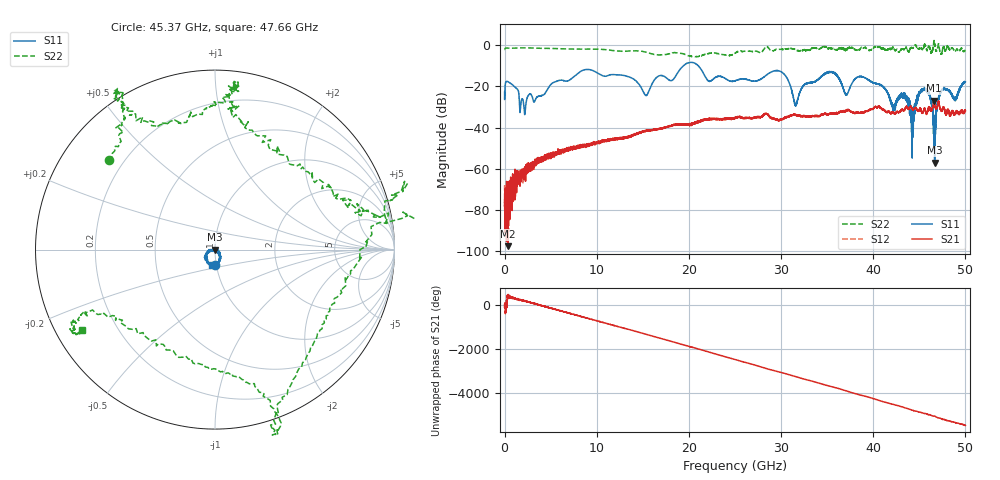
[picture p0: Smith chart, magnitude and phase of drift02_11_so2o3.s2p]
!Created with skrf (http://scikit-rf.org).
# Hz S RI R 50.0
!freq ReS11 ImS11 ReS21 ImS21 ReS12 ImS12 ReS22 ImS22
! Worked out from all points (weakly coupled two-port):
!   10001 points, 300 kHz to 50 GHz, reference 50 ohm
!   highest |S21| = -26.91 dB at 46.59 GHz (marker M1); lowest = -97.6 dB at 385.3 MHz (marker M2)
!   lowest |S11| = -57.1 dB at 46.67 GHz (marker M3), VSWR 1.00, Z = 49.9 - j0.124 ohm
!   |S11| at or under -10 dB: start of sweep to 19.41 GHz; 21.00234 GHz to 21.00936 GHz (7.022 MHz wide, 0.0334 % of centre); 21.01 GHz to end of sweep
!   |S22| runs from -5.7 to 2.3 dB; largest |S21 - S12| = 0.0033
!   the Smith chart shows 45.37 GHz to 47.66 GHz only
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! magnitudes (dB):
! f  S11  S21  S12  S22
! 300 kHz  -22.9  -75.2  -68.0  -2.1
! 385.3 MHz  -17.8  -97.6  -69.6  -1.4
! 2.18 GHz  -33.7  -63.2  -61.2  -1.3
! 8.335 GHz  -12.5  -49.2  -49.1  -1.9
! 15.34 GHz  -24.5  -41.7  -41.6  -3.4
! 16.67 GHz  -15.1  -40.9  -40.9  -4.7
! 20.28 GHz  -8.3  -38.4  -38.4  -5.5
! 25 GHz  -17.3  -35.2  -35.3  -3.9
! 29.84 GHz  -12.6  -36.2  -36.7  -2.0
! 31.59 GHz  -28.9  -33.9  -34.1  -2.5
! 33.34 GHz  -18.0  -34.5  -34.5  -1.6
! 35.59 GHz  -13.3  -33.2  -33.2  -1.6
! 37.09 GHz  -24.0  -31.9  -31.6  -2.1
! 38.76 GHz  -15.3  -32.9  -32.8  -1.1
! 41.67 GHz  -24.2  -32.2  -32.1  -1.9
! 43.5 GHz  -25.5  -30.4  -30.8  -1.5
! 44.27 GHz  -36.4  -31.1  -31.2  -1.5
! 45.7 GHz  -21.8  -32.5  -32.7  -0.8
! 46.59 GHz  -37.2  -26.9  -27.0  1.8
! 46.67 GHz  -57.1  -28.4  -28.3  0.3
! 47.47 GHz  -21.7  -31.8  -31.8  -3.4
! 50 GHz  -17.9  -31.9  -31.8  -2.7
